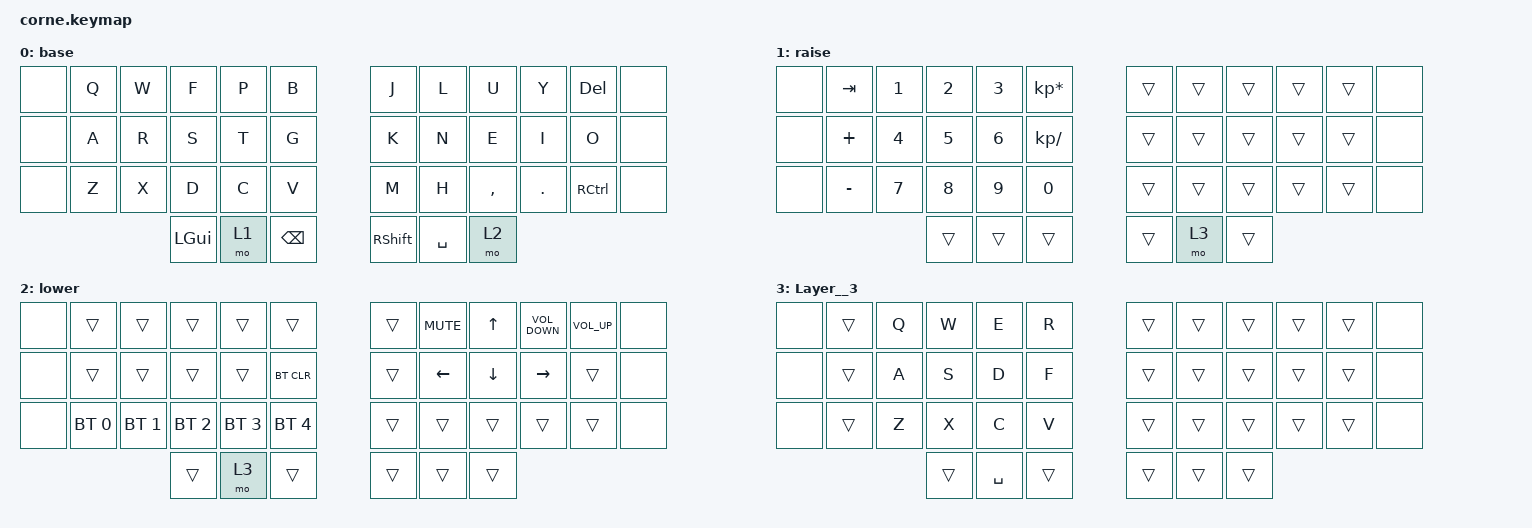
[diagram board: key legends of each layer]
/*
 * Copyright (c) 2020 The ZMK Contributors
 *
 * SPDX-License-Identifier: MIT
 */

#include <behaviors.dtsi>
#include <dt-bindings/zmk/keys.h>
#include <dt-bindings/zmk/bt.h>

// dt-formatter: indent = "  "
// dt-formatter: reindentMultilineIntegerCells = "dedent"

/ {
  behaviors {
    hm: homerow_mods {
      compatible = "zmk,behavior-hold-tap";
      label = "HOMEROW_MODS";
      #binding-cells = <2>;
      tapping-term-ms = <150>;
      quick-tap-ms = <0>;
      flavor = "tap-preferred";
      bindings =
        <&kp>,
        <&kp>;
    };
  };

  combos {
    compatible = "zmk,combos";

    esc {
      bindings = <&kp ESC>;
      key-positions = <1 2>;
      timeout-ms = <20>;
    };

    enter {
      bindings = <&kp ENTER>;
      key-positions = <22 21>;
      timeout-ms = <20>;
    };

    tab {
      bindings = <&kp TAB>;
      key-positions = <14 13>;
      timeout-ms = <20>;
    };

    alttab {
      bindings = <&kp LA(TAB)>;
      key-positions = <37 13>;
      timeout-ms = <20>;
    };
  };

  macros {
    zed_em_kay: zed_em_kay {
      compatible = "zmk,behavior-macro";
      label = "ZM_zed_em_kay";
      #binding-cells = <0>;
      bindings =
        <&macro_press>,
        <&kp LSHFT>,
        <&macro_tap>,
        <&kp Z &kp M &kp K>,
        <&macro_release>,
        <&kp LSHFT>,
        <&macro_press>,
        <&macro_press>,
        <&kp>;
    };
    tabtabesc: tabtabesc {
      compatible = "zmk,behavior-macro";
      label = "new_macro";
      #binding-cells = <0>;
      bindings =
        <&macro_press>,
        <&kp>;
    };
  };

  keymap {
    compatible = "zmk,keymap";

    base {
      bindings = <
&none  &kp Q  &kp W     &kp F  &kp P          &kp B         &kp J      &kp L      &kp U    &kp Y  &kp DELETE  &none
&none  &kp A  &kp R     &kp S  &kp T          &kp G         &kp K      &kp N      &kp E    &kp I       &kp O  &none
&none  &kp Z  &kp X     &kp D  &kp C          &kp V         &kp M      &kp H  &kp COMMA  &kp DOT   &kp RCTRL  &none
                     &kp LGUI  &mo 1  &kp BACKSPACE    &kp RSHIFT  &kp SPACE      &mo 2
      >;
    };

    raise {
      bindings = <
&none    &kp TAB  &kp N1  &kp N2  &kp N3  &kp KP_MULTIPLY    &trans  &trans  &trans  &trans  &trans  &none
&none   &kp PLUS  &kp N4  &kp N5  &kp N6     &kp KP_SLASH    &trans  &trans  &trans  &trans  &trans  &none
&none  &kp MINUS  &kp N7  &kp N8  &kp N9           &kp N0    &trans  &trans  &trans  &trans  &trans  &none
                          &trans  &trans           &trans    &trans   &mo 3  &trans
      >;
    };

    lower {
      bindings = <
&none        &trans        &trans        &trans        &trans        &trans    &trans  &kp C_MUTE    &kp UP  &kp C_VOLUME_DOWN  &kp C_VOLUME_UP  &none
&none        &trans        &trans        &trans        &trans    &bt BT_CLR    &trans    &kp LEFT  &kp DOWN          &kp RIGHT           &trans  &none
&none  &bt BT_SEL 0  &bt BT_SEL 1  &bt BT_SEL 2  &bt BT_SEL 3  &bt BT_SEL 4    &trans      &trans    &trans             &trans           &trans  &none
                                         &trans         &mo 3        &trans    &trans      &trans    &trans
      >;
    };

    Layer__3 {
      bindings = <
&none  &trans  &kp Q   &kp W      &kp E   &kp R    &trans  &trans  &trans  &trans  &trans  &none
&none  &trans  &kp A   &kp S      &kp D   &kp F    &trans  &trans  &trans  &trans  &trans  &none
&none  &trans  &kp Z   &kp X      &kp C   &kp V    &trans  &trans  &trans  &trans  &trans  &none
                      &trans  &kp SPACE  &trans    &trans  &trans  &trans
      >;
    };
  };
};
